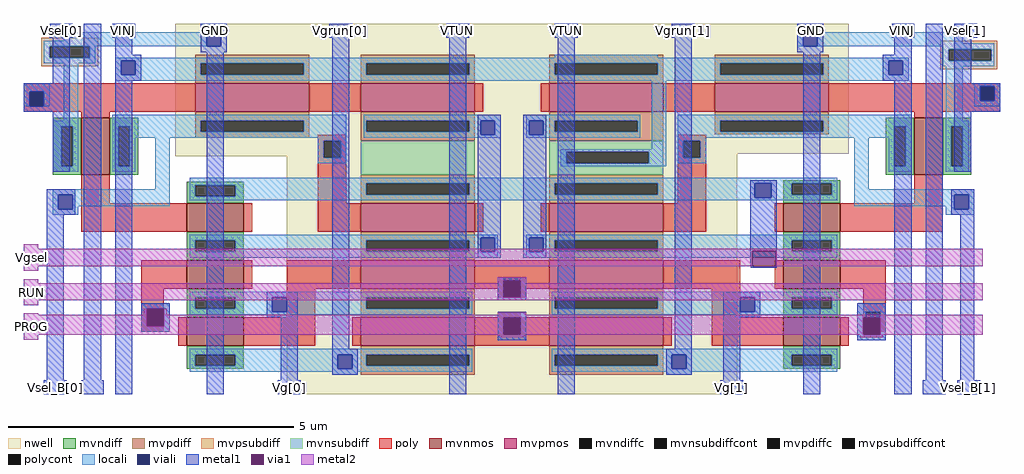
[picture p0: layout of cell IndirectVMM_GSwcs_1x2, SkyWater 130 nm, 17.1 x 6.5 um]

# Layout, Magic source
magic
tech sky130A
<< nwell >>
rect -10 907 1170 1135
rect -10 902 975 907
rect 185 485 975 902
<< mvnmos >>
rect -175 870 -125 970
rect 1285 870 1335 970
rect 10 770 110 820
rect 1055 770 1155 820
rect 10 670 110 720
rect 1055 670 1155 720
rect 10 570 110 620
rect 1055 570 1155 620
<< mvpmos >>
rect 25 980 225 1030
rect 315 980 515 1030
rect 645 980 845 1030
rect 935 980 1135 1030
rect 315 770 515 820
rect 645 770 845 820
rect 315 670 515 720
rect 645 670 845 720
rect 315 570 515 620
rect 645 570 845 620
<< mvndiff >>
rect -225 955 -175 970
rect -225 885 -210 955
rect -190 885 -175 955
rect -225 870 -175 885
rect -125 955 -75 970
rect -125 885 -110 955
rect -90 885 -75 955
rect -125 870 -75 885
rect 10 852 110 858
rect 10 832 25 852
rect 95 832 110 852
rect 10 820 110 832
rect 1235 955 1285 970
rect 1235 885 1250 955
rect 1270 885 1285 955
rect 1235 870 1285 885
rect 1335 955 1385 970
rect 1335 885 1350 955
rect 1370 885 1385 955
rect 1335 870 1385 885
rect 1055 855 1155 860
rect 1055 835 1070 855
rect 1140 835 1155 855
rect 1055 820 1155 835
rect 10 755 110 770
rect 10 735 25 755
rect 95 735 110 755
rect 10 720 110 735
rect 1055 755 1155 770
rect 1055 735 1070 755
rect 1140 735 1155 755
rect 1055 720 1155 735
rect 10 655 110 670
rect 10 635 25 655
rect 95 635 110 655
rect 10 620 110 635
rect 1055 655 1155 670
rect 1055 635 1070 655
rect 1140 635 1155 655
rect 1055 620 1155 635
rect 10 555 110 570
rect 10 535 25 555
rect 95 535 110 555
rect 10 530 110 535
rect 1055 555 1155 570
rect 1055 535 1070 555
rect 1140 535 1155 555
rect 1055 530 1155 535
<< mvpdiff >>
rect 25 1065 225 1080
rect 25 1045 35 1065
rect 215 1045 225 1065
rect 25 1030 225 1045
rect 315 1065 515 1080
rect 315 1045 325 1065
rect 505 1045 515 1065
rect 315 1030 515 1045
rect 645 1065 845 1080
rect 645 1045 655 1065
rect 835 1045 845 1065
rect 645 1030 845 1045
rect 935 1065 1135 1080
rect 935 1045 945 1065
rect 1125 1045 1135 1065
rect 935 1030 1135 1045
rect 25 965 225 980
rect 25 945 35 965
rect 215 945 225 965
rect 25 935 225 945
rect 315 965 515 980
rect 315 945 325 965
rect 505 945 515 965
rect 315 930 515 945
rect 315 855 515 870
rect 315 835 325 855
rect 505 835 515 855
rect 315 820 515 835
rect 645 965 845 980
rect 645 945 655 965
rect 800 945 845 965
rect 645 930 845 945
rect 935 965 1135 980
rect 935 945 945 965
rect 1125 945 1135 965
rect 935 941 1135 945
rect 645 855 845 870
rect 645 835 655 855
rect 835 835 845 855
rect 645 820 845 835
rect 315 755 515 770
rect 315 735 325 755
rect 505 735 515 755
rect 315 720 515 735
rect 645 755 845 770
rect 645 735 655 755
rect 835 735 845 755
rect 645 720 845 735
rect 315 655 515 670
rect 645 655 845 670
rect 315 635 325 655
rect 505 635 515 655
rect 315 620 515 635
rect 645 635 655 655
rect 835 635 845 655
rect 645 620 845 635
rect 315 555 515 570
rect 315 535 325 555
rect 505 535 515 555
rect 315 520 515 535
rect 645 555 845 570
rect 645 535 655 555
rect 835 535 845 555
rect 645 520 845 535
<< mvndiffc >>
rect -210 885 -190 955
rect -110 885 -90 955
rect 25 832 95 852
rect 1250 885 1270 955
rect 1350 885 1370 955
rect 1070 835 1140 855
rect 25 735 95 755
rect 1070 735 1140 755
rect 25 635 95 655
rect 1070 635 1140 655
rect 25 535 95 555
rect 1070 535 1140 555
<< mvpdiffc >>
rect 35 1045 215 1065
rect 325 1045 505 1065
rect 655 1045 835 1065
rect 945 1045 1125 1065
rect 35 945 215 965
rect 325 945 505 965
rect 325 835 505 855
rect 655 945 800 965
rect 945 945 1125 965
rect 655 835 835 855
rect 325 735 505 755
rect 655 735 835 755
rect 325 635 505 655
rect 655 635 835 655
rect 325 535 505 555
rect 655 535 835 555
<< mvpsubdiff >>
rect -245 1095 -145 1110
rect -245 1075 -230 1095
rect -160 1075 -145 1095
rect 1330 1090 1430 1105
rect -245 1060 -145 1075
rect 1330 1070 1345 1090
rect 1420 1070 1430 1090
rect 1330 1055 1430 1070
<< mvnsubdiff >>
rect 315 870 515 930
rect 645 910 845 930
rect 645 890 675 910
rect 820 890 845 910
rect 645 870 845 890
<< mvpsubdiffcont >>
rect -230 1075 -160 1095
rect 1345 1070 1420 1090
<< mvnsubdiffcont >>
rect 675 890 820 910
<< poly >>
rect -275 1015 25 1030
rect -275 990 -265 1015
rect -240 990 25 1015
rect -275 980 25 990
rect 225 980 315 1030
rect 515 980 530 1030
rect 630 980 645 1030
rect 845 980 935 1030
rect 1135 1025 1435 1030
rect 1135 1000 1400 1025
rect 1425 1000 1435 1025
rect 1135 980 1435 1000
rect -175 970 -125 980
rect 240 930 290 940
rect 240 900 250 930
rect 280 900 290 930
rect -175 820 -125 870
rect 240 820 290 900
rect 1285 970 1335 980
rect 870 930 920 940
rect 870 900 880 930
rect 910 900 920 930
rect 870 820 920 900
rect 1285 820 1335 870
rect -175 770 10 820
rect 110 770 125 820
rect 240 770 315 820
rect 515 770 530 820
rect 630 770 645 820
rect 845 770 920 820
rect 1040 770 1055 820
rect 1155 770 1335 820
rect -70 670 10 720
rect 110 670 125 720
rect 185 670 315 720
rect 515 690 645 720
rect 515 670 565 690
rect -70 630 -30 670
rect -70 605 -60 630
rect -35 605 -30 630
rect 185 620 235 670
rect 555 665 565 670
rect 595 670 645 690
rect 845 670 980 720
rect 1040 670 1055 720
rect 1155 670 1235 720
rect 595 665 605 670
rect 555 655 605 665
rect 555 620 595 630
rect 930 620 980 670
rect 1195 630 1235 670
rect -70 595 -30 605
rect -5 570 10 620
rect 110 570 235 620
rect 300 570 315 620
rect 515 615 645 620
rect 515 590 565 615
rect 590 590 645 615
rect 515 570 645 590
rect 845 570 860 620
rect 930 570 1055 620
rect 1155 570 1170 620
rect 1195 605 1200 630
rect 1225 605 1235 630
rect 1195 595 1235 605
<< polycont >>
rect -265 990 -240 1015
rect 1400 1000 1425 1025
rect 250 900 280 930
rect 880 900 910 930
rect -60 605 -35 630
rect 565 665 595 690
rect 565 590 590 615
rect 1200 605 1225 630
<< locali >>
rect -205 1105 45 1120
rect -240 1095 45 1105
rect 1080 1095 1090 1120
rect 1115 1100 1370 1120
rect 1115 1095 1425 1100
rect -240 1075 -230 1095
rect -160 1075 -150 1095
rect 1335 1090 1425 1095
rect 655 1075 835 1080
rect -240 1065 -150 1075
rect -115 1070 1275 1075
rect -275 1015 -230 1030
rect -275 990 -265 1015
rect -240 990 -230 1015
rect -205 965 -180 1065
rect -115 1045 -105 1070
rect -80 1065 1240 1070
rect -80 1045 35 1065
rect 215 1045 325 1065
rect 505 1045 655 1065
rect 835 1045 945 1065
rect 1125 1045 1240 1065
rect 1265 1045 1275 1070
rect 1335 1070 1345 1090
rect 1420 1070 1425 1090
rect 1335 1060 1425 1070
rect -115 1035 1275 1045
rect -225 955 -180 965
rect -225 885 -210 955
rect -190 885 -180 955
rect -225 875 -180 885
rect -120 965 290 975
rect -120 955 35 965
rect -120 885 -110 955
rect -90 945 35 955
rect 215 945 290 965
rect -90 935 290 945
rect 320 965 560 975
rect 320 945 325 965
rect 505 945 525 965
rect 320 940 525 945
rect 550 940 560 965
rect 320 935 560 940
rect 605 965 805 975
rect 605 940 610 965
rect 635 945 655 965
rect 800 945 805 965
rect 635 940 805 945
rect 605 935 805 940
rect -90 885 -80 935
rect -120 875 -80 885
rect -45 845 -20 935
rect 240 930 290 935
rect 240 900 250 930
rect 280 900 290 930
rect 825 915 850 1035
rect 240 890 290 900
rect 665 910 850 915
rect 665 890 675 910
rect 820 890 850 910
rect 870 965 1280 975
rect 870 945 945 965
rect 1125 955 1280 965
rect 1125 945 1250 955
rect 870 935 1250 945
rect 870 930 920 935
rect 870 900 880 930
rect 910 900 920 930
rect 870 890 920 900
rect 665 885 850 890
rect -225 835 -20 845
rect -225 810 -215 835
rect -190 815 -20 835
rect 15 855 1150 865
rect 15 852 325 855
rect 15 832 25 852
rect 95 835 325 852
rect 505 835 655 855
rect 835 835 1005 855
rect 95 832 1005 835
rect 15 830 1005 832
rect 1034 835 1070 855
rect 1140 835 1150 855
rect 1034 830 1150 835
rect 15 825 1150 830
rect 1180 845 1205 935
rect 1240 885 1250 935
rect 1270 885 1280 955
rect 1240 875 1280 885
rect 1340 965 1370 1060
rect 1390 1025 1435 1030
rect 1390 1000 1400 1025
rect 1425 1000 1435 1025
rect 1390 990 1435 1000
rect 1340 955 1380 965
rect 1340 885 1350 955
rect 1370 885 1380 955
rect 1340 875 1380 885
rect 1180 835 1390 845
rect 1180 815 1355 835
rect -190 810 -180 815
rect -225 800 -180 810
rect 1340 810 1355 815
rect 1380 810 1390 835
rect 1340 800 1390 810
rect 15 760 555 765
rect 15 755 525 760
rect 15 735 25 755
rect 95 735 325 755
rect 505 735 525 755
rect 550 735 555 760
rect 15 725 555 735
rect 605 760 1150 765
rect 605 735 610 760
rect 635 755 1150 760
rect 635 735 655 755
rect 835 735 1070 755
rect 1140 735 1150 755
rect 605 725 1150 735
rect 15 655 510 665
rect -70 635 -20 645
rect -70 605 -60 635
rect -30 605 -20 635
rect 15 635 25 655
rect 95 635 160 655
rect 15 630 160 635
rect 185 635 325 655
rect 505 635 510 655
rect 555 655 565 690
rect 595 655 605 690
rect 555 650 605 655
rect 650 655 1150 665
rect 185 630 510 635
rect 650 635 655 655
rect 835 635 980 655
rect 650 630 980 635
rect 1005 635 1070 655
rect 1140 635 1150 655
rect 1005 630 1150 635
rect 15 625 510 630
rect 150 620 195 625
rect 555 620 605 630
rect 650 625 1150 630
rect 1185 630 1235 645
rect 970 620 1015 625
rect 1185 620 1200 630
rect -70 595 -20 605
rect 555 590 565 620
rect 595 590 605 620
rect 555 580 605 590
rect 1185 590 1195 620
rect 1225 590 1235 630
rect 1185 580 1235 590
rect 15 555 510 565
rect 15 535 25 555
rect 95 535 275 555
rect 15 530 275 535
rect 300 535 325 555
rect 505 535 510 555
rect 300 530 510 535
rect 15 525 510 530
rect 650 555 1150 565
rect 650 535 655 555
rect 835 535 860 555
rect 650 530 860 535
rect 885 535 1070 555
rect 1140 535 1150 555
rect 885 530 1150 535
rect 650 525 1150 530
rect 265 520 310 525
rect 850 520 895 525
<< viali >>
rect 45 1095 70 1120
rect 1090 1095 1115 1120
rect -265 990 -240 1015
rect -105 1045 -80 1070
rect 1240 1045 1265 1070
rect 525 940 550 965
rect 610 940 635 965
rect -215 810 -190 835
rect 1005 830 1034 855
rect 1400 1000 1425 1025
rect 1355 810 1380 835
rect 525 735 550 760
rect 610 735 635 760
rect -60 630 -30 635
rect -60 605 -35 630
rect -35 605 -30 630
rect 160 630 185 655
rect 565 665 595 680
rect 565 655 595 665
rect 980 630 1005 655
rect 565 615 595 620
rect 565 590 590 615
rect 590 590 595 615
rect 1195 605 1200 620
rect 1200 605 1225 620
rect 1195 590 1225 605
rect 275 530 300 555
rect 860 530 885 555
<< metal1 >>
rect -230 1110 -190 1135
rect -225 1030 -195 1110
rect -275 1015 -195 1030
rect -275 990 -265 1015
rect -240 990 -195 1015
rect -275 980 -195 990
rect -225 875 -195 980
rect -235 835 -185 845
rect -235 810 -215 835
rect -190 810 -185 835
rect -235 800 -185 810
rect -235 510 -205 800
rect -170 510 -140 1135
rect -120 1110 -80 1135
rect 35 1120 80 1135
rect -115 1080 -85 1110
rect 35 1095 45 1120
rect 70 1095 80 1120
rect 260 1110 300 1135
rect 465 1110 505 1135
rect 655 1110 695 1135
rect 860 1110 900 1135
rect 1080 1120 1125 1135
rect 35 1085 80 1095
rect -115 1070 -70 1080
rect -115 1045 -105 1070
rect -80 1045 -70 1070
rect -115 1035 -70 1045
rect -240 485 -200 510
rect -175 485 -135 510
rect -115 485 -85 1035
rect -70 635 -20 645
rect -70 605 -60 635
rect -30 605 -20 635
rect -70 595 -20 605
rect 45 485 75 1085
rect 150 655 205 665
rect 150 630 160 655
rect 185 630 205 655
rect 150 620 205 630
rect 175 510 205 620
rect 265 565 295 1110
rect 265 555 310 565
rect 265 530 275 555
rect 300 530 310 555
rect 265 520 310 530
rect 170 485 210 510
rect 470 485 500 1110
rect 520 965 560 975
rect 520 940 525 965
rect 550 940 560 965
rect 520 760 560 940
rect 520 735 525 760
rect 550 735 560 760
rect 520 725 560 735
rect 600 965 640 975
rect 600 940 610 965
rect 635 940 640 965
rect 600 760 640 940
rect 600 735 610 760
rect 635 735 640 760
rect 600 725 640 735
rect 555 685 605 690
rect 555 655 565 685
rect 595 655 605 685
rect 555 650 605 655
rect 555 620 605 630
rect 555 590 565 620
rect 595 590 605 620
rect 555 580 605 590
rect 660 485 690 1110
rect 865 565 895 1110
rect 1080 1095 1090 1120
rect 1115 1095 1125 1120
rect 1245 1110 1285 1135
rect 1080 1085 1125 1095
rect 997 855 1044 860
rect 997 830 1005 855
rect 1034 830 1044 855
rect 997 737 1044 830
rect 997 711 1001 737
rect 998 710 1001 711
rect 1043 710 1044 737
rect 998 707 1044 710
rect 850 555 895 565
rect 850 530 860 555
rect 885 530 895 555
rect 850 520 895 530
rect 950 655 1015 665
rect 950 630 980 655
rect 1005 630 1015 655
rect 950 620 1015 630
rect 950 510 980 620
rect 945 485 985 510
rect 1090 485 1120 1085
rect 1250 1080 1280 1110
rect 1230 1070 1280 1080
rect 1230 1045 1240 1070
rect 1265 1045 1280 1070
rect 1230 1035 1280 1045
rect 1185 620 1235 645
rect 1185 590 1195 620
rect 1225 590 1235 620
rect 1185 580 1235 590
rect 1250 485 1280 1035
rect 1305 510 1335 1135
rect 1355 1110 1395 1135
rect 1355 1030 1385 1110
rect 1355 1025 1435 1030
rect 1355 1000 1400 1025
rect 1425 1000 1435 1025
rect 1355 980 1435 1000
rect 1355 875 1385 980
rect 1350 835 1390 845
rect 1350 810 1355 835
rect 1380 810 1390 835
rect 1350 800 1390 810
rect 1365 510 1390 800
rect 1300 485 1340 510
rect 1360 485 1400 510
<< via1 >>
rect -60 605 -30 635
rect 565 680 595 685
rect 565 655 595 680
rect 565 590 595 620
rect 1001 710 1043 737
rect 1195 590 1225 620
<< metal2 >>
rect -275 740 -250 748
rect -275 737 1405 740
rect -275 710 1001 737
rect 1043 710 1405 737
rect -275 702 -250 710
rect -275 680 -250 687
rect 555 685 605 690
rect 555 680 565 685
rect -275 655 565 680
rect 595 680 605 685
rect 595 655 1405 680
rect -275 650 1405 655
rect -275 641 -250 650
rect -275 625 -250 627
rect -65 625 -60 635
rect -275 605 -60 625
rect -30 625 -25 635
rect 555 625 605 629
rect -30 620 1405 625
rect -30 605 565 620
rect -275 590 565 605
rect 595 590 1195 620
rect 1225 590 1405 620
rect -275 581 -250 590
rect 555 588 605 590
rect 560 585 600 588
rect 1190 585 1230 590
<< labels >>
flabel metal1 -120 1110 -80 1135 0 FreeSans 60 0 0 0 VINJ
port 8 nsew
flabel metal1 -230 1110 -190 1135 0 FreeSans 60 0 0 0 Vsel[0]
port 11 nsew
flabel metal1 1360 485 1400 510 0 FreeSans 60 0 0 0 Vsel_B[1]
port 14 nsew
flabel metal1 -240 485 -200 510 0 FreeSans 60 0 0 0 Vsel_B[0]
port 13 nsew
flabel metal2 -275 702 -250 748 0 FreeSans 60 0 0 0 Vgsel
port 7 nsew
flabel metal2 -275 641 -250 687 0 FreeSans 60 0 0 0 RUN
port 2 nsew
flabel metal2 -275 581 -250 627 0 FreeSans 60 0 0 0 PROG
port 1 nsew
flabel metal1 40 1110 80 1135 0 FreeSans 60 0 0 0 GND
port 0 nsew
flabel metal1 260 1110 300 1135 0 FreeSans 60 0 0 0 Vgrun[0]
port 5 nsew
flabel metal1 465 1110 505 1135 0 FreeSans 60 0 0 0 VTUN
port 15 nsew
flabel metal1 655 1110 695 1135 0 FreeSans 60 0 0 0 VTUN
port 15 nsew
flabel metal1 860 1110 900 1135 0 FreeSans 60 0 0 0 Vgrun[1]
port 6 nsew
flabel metal1 1085 1110 1125 1135 0 FreeSans 60 0 0 0 GND
port 0 nsew
flabel metal1 1245 1110 1285 1135 0 FreeSans 60 0 0 0 VINJ
port 8 nsew
flabel metal1 1355 1110 1395 1135 0 FreeSans 60 0 0 0 Vsel[1]
port 12 nsew
flabel metal1 170 485 210 510 0 FreeSans 60 0 0 0 Vg[0]
port 3 nsew
flabel metal1 -175 485 -135 510 0 FreeSans 60 0 0 0 Vs[0]
port 9 nsew
flabel metal1 1300 485 1340 510 0 FreeSans 60 0 0 0 Vs[1]
port 10 nsew
flabel metal1 945 485 985 510 0 FreeSans 60 0 0 0 Vg[1]
port 4 nsew
<< end >>
